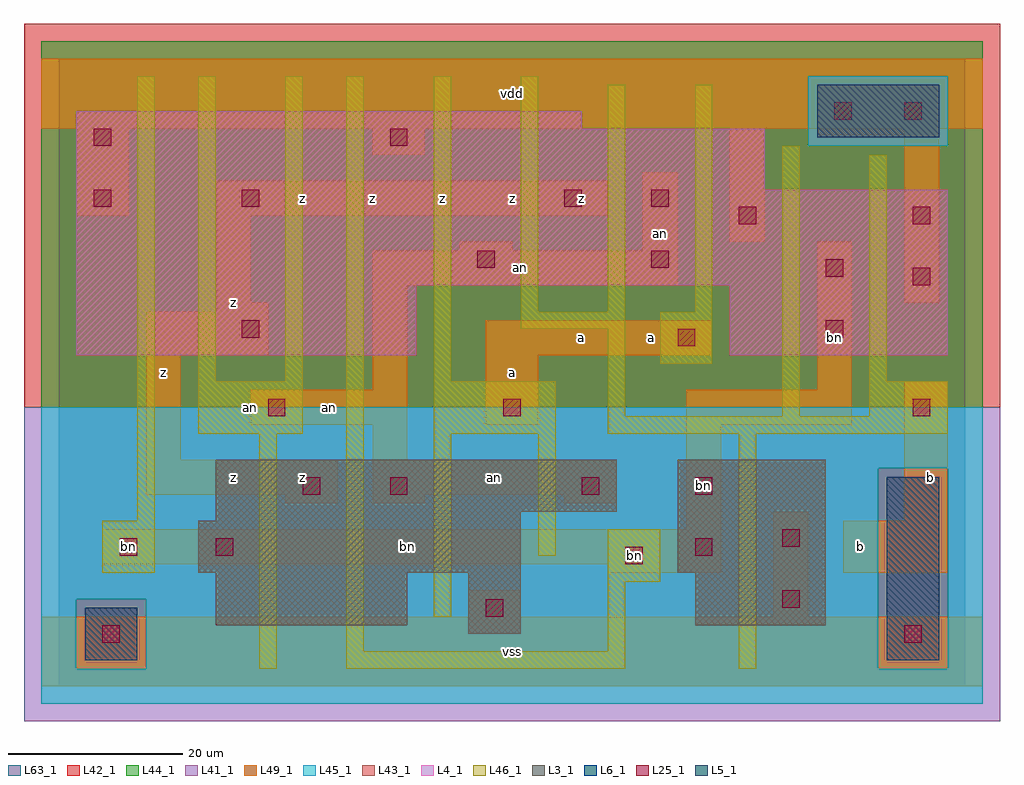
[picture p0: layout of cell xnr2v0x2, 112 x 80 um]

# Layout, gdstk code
import gdstk
lib = gdstk.Library(unit=1e-6, precision=1e-09)
def R(c, l, rs):  # rectangles x0, y0, x1, y1
    for r in rs: c.add(gdstk.rectangle(r[:2], r[2:], *l))
L3_1 = (3, 1)
L4_1 = (4, 1)
L5_1 = (5, 1)
L6_1 = (6, 1)
L25_1 = (25, 1)
L41_1 = (41, 1)
L42_1 = (42, 1)
L43_1 = (43, 1)
L44_1 = (44, 1)
L45_1 = (45, 1)
L46_1 = (46, 1)
L49_1 = (49, 1)
L63_1 = (63, 1)

xnr2v0x2 = lib.new_cell('xnr2v0x2')
R(xnr2v0x2, L3_1, [(47,6,53,13), (18,7,40,13), (73,7,88,13), (16,13,53,19), (71,13,88,26), (18,19,53,20), (18,20,64,26)])
R(xnr2v0x2, L4_1, [(2,38,41,46), (77,38,102,46), (2,46,102,57), (2,57,81,64), (2,64,60,66)])
R(xnr2v0x2, L5_1, [(87,63,101,69)])
R(xnr2v0x2, L6_1, [(3,3,9,9), (3,3,9,9), (95,3,101,24), (95,3,101,24)])
R(xnr2v0x2, L25_1, [(5,5,7,7), (97,5,99,7), (49,8,51,10), (83,9,85,11), (65,14,67,16), (7,15,9,17), (18,15,20,17), (73,15,75,17), (83,16,85,18), (28,22,30,24), (38,22,40,24), (60,22,62,24), (73,22,75,24), (24,31,26,33), (51,31,53,33), (98,31,100,33), (71,39,73,41), (21,40,23,42), (88,40,90,42), (98,46,100,48), (88,47,90,49), (48,48,50,50), (68,48,70,50), (78,53,80,55), (98,53,100,55), (4,55,6,57), (21,55,23,57), (58,55,60,57), (68,55,70,57), (4,62,6,64), (38,62,40,64), (89,65,91,67), (97,65,99,67)])
R(xnr2v0x2, L41_1, [(-4,-4,108,32)])
R(xnr2v0x2, L42_1, [(-4,32,108,76)])
R(xnr2v0x2, L43_1, [(3,3,9,9), (95,3,101,24), (47,6,53,13), (18,7,40,13), (73,7,88,13), (16,13,53,19), (71,13,88,26), (18,19,53,20), (18,20,64,26), (2,38,41,46), (77,38,102,46), (2,46,102,57), (2,57,81,64), (87,63,101,69), (2,64,60,66)])
R(xnr2v0x2, L44_1, [(2,2,10,10), (94,2,102,25), (-2,32,106,62), (-2,62,86,70), (102,62,106,70), (-2,70,106,74)])
R(xnr2v0x2, L45_1, [(-2,-2,106,2), (-2,2,2,10), (10,2,94,10), (102,2,106,25), (-2,10,94,25), (-2,25,106,32), (86,62,102,70)])
R(xnr2v0x2, L46_1, [(23,2,25,29), (33,2,65,4), (78,2,80,29), (33,4,35,70), (63,4,65,12), (43,8,45,29), (63,12,69,18), (5,13,11,19), (55,15,57,29), (9,19,11,70), (16,29,28,35), (43,29,57,35), (63,29,102,31), (63,31,65,41), (83,31,85,62), (93,31,102,35), (16,35,18,70), (26,35,28,70), (43,35,45,70), (93,35,95,61), (69,37,75,43), (53,41,65,43), (53,43,55,70), (63,43,65,69), (73,43,75,69)])
R(xnr2v0x2, L49_1, [(-2,0,106,8), (47,8,53,11), (82,8,86,20), (63,13,76,14), (90,13,102,19), (5,14,76,18), (72,18,76,30), (97,19,102,35), (26,21,32,22), (36,21,42,22), (58,21,64,22), (10,22,32,26), (36,22,64,26), (10,26,14,38), (36,26,40,30), (22,30,40,34), (49,30,55,38), (72,30,91,34), (36,34,40,46), (87,34,91,51), (10,38,24,43), (49,38,75,42), (18,43,24,44), (18,44,22,54), (97,44,101,64), (36,46,71,50), (46,50,52,51), (67,50,71,59), (77,51,81,64), (2,54,8,64), (18,54,63,58), (36,61,42,64), (-2,64,106,72)])
R(xnr2v0x2, L63_1, [(0,0,104,72)])
xnr2v0x2.add(gdstk.Label('bn', (8,16), layer=49, texttype=1))
xnr2v0x2.add(gdstk.Label('an', (22,32), layer=46, texttype=1))
xnr2v0x2.add(gdstk.Label('bn', (66,15), layer=49, texttype=1))
xnr2v0x2.add(gdstk.Label('z', (12,36), layer=49, texttype=1))
xnr2v0x2.add(gdstk.Label('z', (20,24), layer=49, texttype=1))
xnr2v0x2.add(gdstk.Label('z', (28,24), layer=49, texttype=1))
xnr2v0x2.add(gdstk.Label('an', (31,32), layer=49, texttype=1))
xnr2v0x2.add(gdstk.Label('z', (20,44), layer=49, texttype=1))
xnr2v0x2.add(gdstk.Label('z', (36,56), layer=49, texttype=1))
xnr2v0x2.add(gdstk.Label('z', (28,56), layer=49, texttype=1))
xnr2v0x2.add(gdstk.Label('vss', (52,4), layer=49, texttype=1))
xnr2v0x2.add(gdstk.Label('a', (52,36), layer=49, texttype=1))
xnr2v0x2.add(gdstk.Label('a', (60,40), layer=49, texttype=1))
xnr2v0x2.add(gdstk.Label('z', (60,56), layer=49, texttype=1))
xnr2v0x2.add(gdstk.Label('z', (52,56), layer=49, texttype=1))
xnr2v0x2.add(gdstk.Label('z', (44,56), layer=49, texttype=1))
xnr2v0x2.add(gdstk.Label('vdd', (52,68), layer=49, texttype=1))
xnr2v0x2.add(gdstk.Label('bn', (40,16), layer=49, texttype=1))
xnr2v0x2.add(gdstk.Label('an', (50,24), layer=49, texttype=1))
xnr2v0x2.add(gdstk.Label('bn', (74,23), layer=49, texttype=1))
xnr2v0x2.add(gdstk.Label('a', (68,40), layer=49, texttype=1))
xnr2v0x2.add(gdstk.Label('an', (53,48), layer=49, texttype=1))
xnr2v0x2.add(gdstk.Label('an', (69,52), layer=49, texttype=1))
xnr2v0x2.add(gdstk.Label('b', (92,16), layer=49, texttype=1))
xnr2v0x2.add(gdstk.Label('b', (100,24), layer=49, texttype=1))
xnr2v0x2.add(gdstk.Label('bn', (89,40), layer=49, texttype=1))

lib.write_gds('xnr2v0x2.gds')
